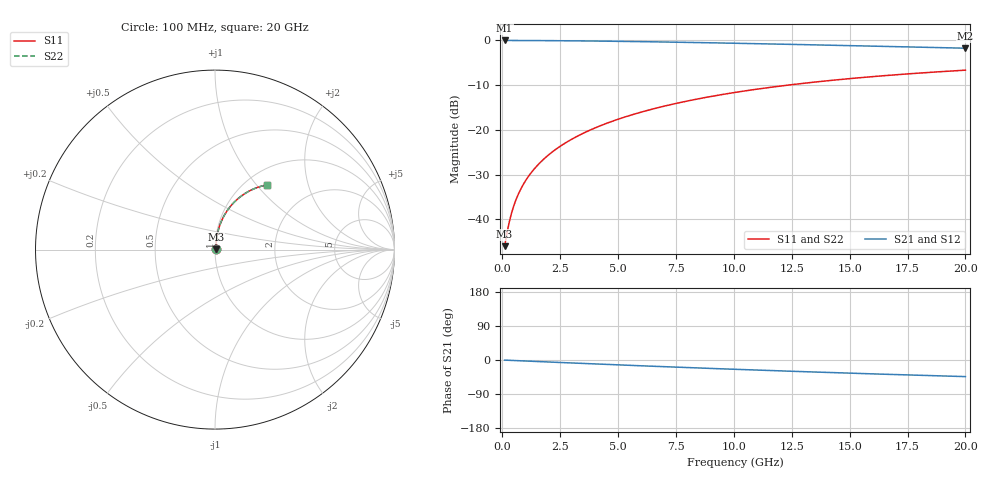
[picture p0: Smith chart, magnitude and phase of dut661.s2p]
! Touchstone file exported from HFSS 2024.1.0
!  File:  C:/UserFiles/LocalFiles/RDL_TSV_Batchsim/temp_RDL_top_661_1779781713.aedt
!  Generated:  03:50:49 PM May 26, 2026
!  Design:  RDL_top
!  Project:  temp_RDL_top_661_1779781713
!  Setup:  Setup1
!  Solution:  Sweep
! Variables:
!  dtsv = 10.80580581um
!  hbump = 3um
!  htsv = 77.45um
!  ldown = 100um
!  lrdl = 545.5um
!  p = 40
!  p1 = 59.64um
!  rhole = 1um
!  t = 450um
!  tdown = 3.915915916um
!  trdl = 2.73um
!  wdown = 15.38538539um
!  wrdl = 17.71um
# GHz S MA R 50.000000
! Terminal data exported
! Port[1] = Box2_T1
! Port[2] = Box2_T2
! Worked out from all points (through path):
!   200 points, 100 MHz to 20 GHz, reference 50 ohm
!   highest |S21| = -0.04 dB at 100 MHz (marker M1); lowest = -1.8 dB at 20 GHz (marker M2)
!   group delay of S21, straight-line fit = 6.07 ps
!   lowest |S11| = -46.0 dB at 100 MHz (marker M3), VSWR 1.01, Z = 50.4 + j0.277 ohm
!   |S11| at or under -10 dB: start of sweep to 12.37 GHz
!   |S22| runs from -46.0 to -6.7 dB; largest |S21 - S12| = 2.6e-15
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0.1  0.005002 33.4  0.9958 -0.3  0.9958 -0.3  0.005002 33.4
! Gamma 0 0 0 0
! Port Impedance 50 0 50 0
0.2  0.006949 52.0  0.9957 -0.5  0.9957 -0.5  0.006949 52.0
0.3  0.009283 61.6  0.9956 -0.8  0.9956 -0.8  0.009283 61.6
0.4  0.01174 67.0  0.9954 -1.1  0.9954 -1.1  0.01174 67.0
0.5  0.01424 70.4  0.9952 -1.3  0.9952 -1.3  0.01424 70.4
0.6  0.01675 72.8  0.995 -1.6  0.995 -1.6  0.01675 72.8
0.8  0.02178 75.9  0.9946 -2.1  0.9946 -2.1  0.02178 75.9
1.1  0.02937 78.5  0.9939 -2.9  0.9939 -2.9  0.02937 78.5
1.5  0.03957 80.2  0.9928 -4.0  0.9928 -4.0  0.03957 80.3
1.8  0.04727 80.9  0.9919 -4.7  0.9919 -4.7  0.04727 80.9
2.1  0.05501 81.3  0.9908 -5.5  0.9908 -5.5  0.05501 81.3
2.7  0.0706 81.5  0.9883 -7.1  0.9883 -7.1  0.0706 81.5
3.5  0.09155 81.0  0.9841 -9.1  0.9841 -9.1  0.09155 81.0
4.2  0.11 80.3  0.9797 -10.9  0.9797 -10.9  0.11 80.3
5  0.1311 79.2  0.974 -12.9  0.974 -12.9  0.1312 79.2
5.9  0.1549 77.8  0.9668 -15.1  0.9668 -15.1  0.155 77.8
6.8  0.1786 76.2  0.959 -17.2  0.959 -17.2  0.1787 76.2
8.4  0.2201 73.2  0.9438 -20.9  0.9438 -20.9  0.2201 73.2
10.1  0.2626 69.8  0.9263 -24.7  0.9263 -24.7  0.2627 69.8
13.4  0.3392 63.2  0.89 -31.6  0.89 -31.6  0.3393 63.3
16.7  0.4063 57.0  0.8527 -37.9  0.8527 -37.9  0.4064 57.0
20  0.4636 51.1  0.8159 -43.8  0.8159 -43.8  0.4637 51.1
